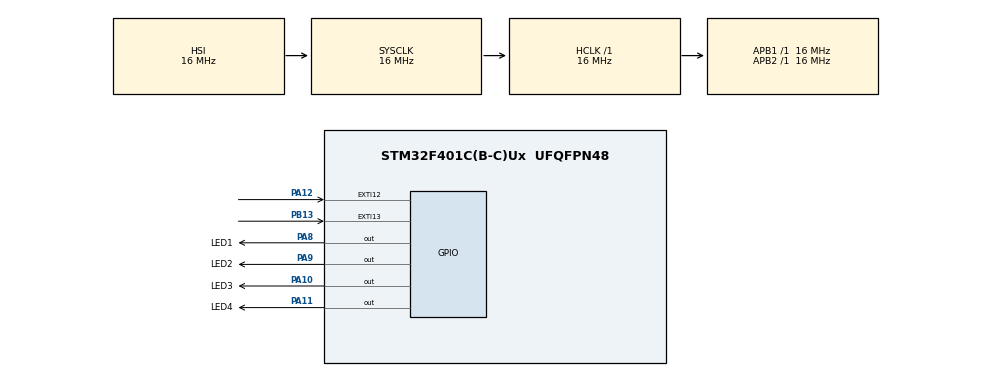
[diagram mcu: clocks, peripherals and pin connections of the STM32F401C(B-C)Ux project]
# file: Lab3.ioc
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Mcu.Family=STM32F4
Mcu.Name=STM32F401C(B-C)Ux
Mcu.Package=UFQFPN48
NVIC.EXTI15_10_IRQn=true\:0\:0\:false\:true\:true\:1\:true\:true\:true
NVIC.PriorityGroup=NVIC_PRIORITYGROUP_4
PA10.GPIO_Label=LED3
PA10.Signal=GPIO_Output
PA11.GPIO_Label=LED4
PA11.Signal=GPIO_Output
PA12.GPIO_PuPd=GPIO_PULLDOWN
PA12.Signal=GPXTI12
PA13.Mode=Serial_Wire
PA13.Signal=SYS_JTMS-SWDIO
PA14.Mode=Serial_Wire
PA14.Signal=SYS_JTCK-SWCLK
PA8.GPIO_Label=LED1
PA8.Signal=GPIO_Output
PA9.GPIO_Label=LED2
PA9.Signal=GPIO_Output
PB13.GPIO_PuPd=GPIO_PULLDOWN
PB13.Signal=GPXTI13
ProjectManager.HeapSize=0x200
ProjectManager.StackSize=0x400
ProjectManager.TargetToolchain=STM32CubeIDE
RCC.AHBFreq_Value=16000000
RCC.APB1Freq_Value=16000000
RCC.APB2Freq_Value=16000000
RCC.CortexFreq_Value=16000000
RCC.HSE_VALUE=25000000
RCC.HSI_VALUE=16000000
RCC.LSE_VALUE=32768
RCC.SYSCLKFreq_VALUE=16000000
RCC.VCOOutputFreq_Value=192000000
board=custom

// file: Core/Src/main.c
/* USER CODE BEGIN Header */
/**
  ******************************************************************************
  * @file           : main.c
  * @brief          : Main program body
  ******************************************************************************
  * @attention
  *
  * Copyright (c) 2022 STMicroelectronics.
  * All rights reserved.
  *
  * This software is licensed under terms that can be found in the LICENSE file
  * in the root directory of this software component.
  * If no LICENSE file comes with this software, it is provided AS-IS.
  *
  ******************************************************************************
  */
/* USER CODE END Header */
#include "main.h"

void SystemClock_Config(void);
static void MX_GPIO_Init(void);
static void MX_NVIC_Init(void);

/* USER CODE BEGIN 0 */
int flag1 = 0;
int flag2 = 0;
int i = 0;
int GPIO_PIN[] = { LED1_Pin, LED2_Pin, LED3_Pin, LED4_Pin };
int LED_Lenght = 3;
/* USER CODE END 0 */

int main(void)
{

  /* MCU Configuration--------------------------------------------------------*/

  /* Reset of all peripherals, Initializes the Flash interface and the Systick. */
  HAL_Init();

  /* Configure the system clock */
  SystemClock_Config();

  /* Initialize all configured peripherals */
  MX_GPIO_Init();

  /* Initialize interrupts */
  MX_NVIC_Init();

  /* Infinite loop */
  /* USER CODE BEGIN WHILE */
  while (1)
  {
	  //BT1
	  	 if(flag1 == 1)
	  	 {
	  		 HAL_GPIO_WritePin(GPIOA, GPIO_PIN[i], GPIO_PIN_SET);
	  		 i++;
	  		 if(i > LED_Lenght) i = LED_Lenght;
	  		 flag1 = 0;
	  	 }

	  	 //BT2
	  	 if(flag2 == 1)
	  	 {
	  		 HAL_GPIO_WritePin(GPIOA, GPIO_PIN[i], GPIO_PIN_RESET);
	  		 i--;
	  		 if(i < 0) i = 0;
	  		 flag2 = 0;
	  	 }

    /* USER CODE END WHILE */

  }
}

void SystemClock_Config(void)
{
  RCC_OscInitTypeDef RCC_OscInitStruct = {0};
  RCC_ClkInitTypeDef RCC_ClkInitStruct = {0};

  /** Configure the main internal regulator output voltage
  */
  __HAL_RCC_PWR_CLK_ENABLE();
  __HAL_PWR_VOLTAGESCALING_CONFIG(PWR_REGULATOR_VOLTAGE_SCALE2);

  /** Initializes the RCC Oscillators according to the specified parameters
  * in the RCC_OscInitTypeDef structure.
  */
  RCC_OscInitStruct.OscillatorType = RCC_OSCILLATORTYPE_HSI;
  RCC_OscInitStruct.HSIState = RCC_HSI_ON;
  RCC_OscInitStruct.HSICalibrationValue = RCC_HSICALIBRATION_DEFAULT;
  RCC_OscInitStruct.PLL.PLLState = RCC_PLL_NONE;
  if (HAL_RCC_OscConfig(&RCC_OscInitStruct) != HAL_OK)
  {
    Error_Handler();
  }

  /** Initializes the CPU, AHB and APB buses clocks
  */
  RCC_ClkInitStruct.ClockType = RCC_CLOCKTYPE_HCLK|RCC_CLOCKTYPE_SYSCLK
                              |RCC_CLOCKTYPE_PCLK1|RCC_CLOCKTYPE_PCLK2;
  RCC_ClkInitStruct.SYSCLKSource = RCC_SYSCLKSOURCE_HSI;
  RCC_ClkInitStruct.AHBCLKDivider = RCC_SYSCLK_DIV1;
  RCC_ClkInitStruct.APB1CLKDivider = RCC_HCLK_DIV1;
  RCC_ClkInitStruct.APB2CLKDivider = RCC_HCLK_DIV1;

  if (HAL_RCC_ClockConfig(&RCC_ClkInitStruct, FLASH_LATENCY_0) != HAL_OK)
  {
    Error_Handler();
  }
}

/**
  * @brief NVIC Configuration.
  * @retval None
  */
static void MX_NVIC_Init(void)
{
  /* EXTI15_10_IRQn interrupt configuration */
  HAL_NVIC_SetPriority(EXTI15_10_IRQn, 0, 0);
  HAL_NVIC_EnableIRQ(EXTI15_10_IRQn);
}

static void MX_GPIO_Init(void)
{
  GPIO_InitTypeDef GPIO_InitStruct = {0};

  /* GPIO Ports Clock Enable */
  __HAL_RCC_GPIOB_CLK_ENABLE();
  __HAL_RCC_GPIOA_CLK_ENABLE();

  /*Configure GPIO pin Output Level */
  HAL_GPIO_WritePin(GPIOA, LED1_Pin|LED2_Pin|LED3_Pin|LED4_Pin, GPIO_PIN_RESET);

  /*Configure GPIO pin : PB13 */
  GPIO_InitStruct.Pin = GPIO_PIN_13;
  GPIO_InitStruct.Mode = GPIO_MODE_IT_RISING;
  GPIO_InitStruct.Pull = GPIO_PULLDOWN;
  HAL_GPIO_Init(GPIOB, &GPIO_InitStruct);

  /*Configure GPIO pins : LED1_Pin LED2_Pin LED3_Pin LED4_Pin */
  GPIO_InitStruct.Pin = LED1_Pin|LED2_Pin|LED3_Pin|LED4_Pin;
  GPIO_InitStruct.Mode = GPIO_MODE_OUTPUT_PP;
  GPIO_InitStruct.Pull = GPIO_NOPULL;
  GPIO_InitStruct.Speed = GPIO_SPEED_FREQ_LOW;
  HAL_GPIO_Init(GPIOA, &GPIO_InitStruct);

  /*Configure GPIO pin : PA12 */
  GPIO_InitStruct.Pin = GPIO_PIN_12;
  GPIO_InitStruct.Mode = GPIO_MODE_IT_RISING;
  GPIO_InitStruct.Pull = GPIO_PULLDOWN;
  HAL_GPIO_Init(GPIOA, &GPIO_InitStruct);

}

/* USER CODE BEGIN 4 */
void HAL_GPIO_EXTI_Callback(uint16_t GPIO_Pin)
{

	if(GPIO_Pin == GPIO_PIN_12)
	flag1 = 1;

	if(GPIO_Pin == GPIO_PIN_13)
	flag2 = 1;
}

/* USER CODE END 4 */

void Error_Handler(void)
{
  __disable_irq();
  while (1)
  {
  }
}
